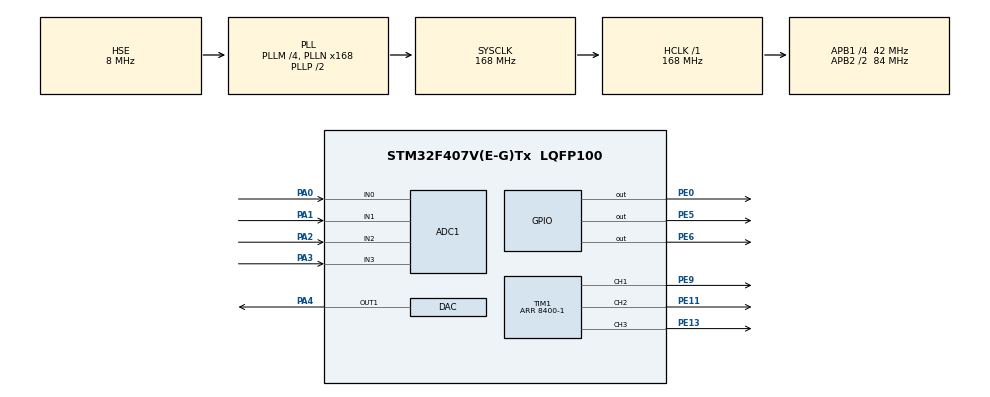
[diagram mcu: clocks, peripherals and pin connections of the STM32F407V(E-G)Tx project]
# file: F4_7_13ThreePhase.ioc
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ADC1.Channel-0\#ChannelRegularConversion=ADC_CHANNEL_0
ADC1.Channel-1\#ChannelRegularConversion=ADC_CHANNEL_1
ADC1.Channel-2\#ChannelRegularConversion=ADC_CHANNEL_2
ADC1.Channel-3\#ChannelRegularConversion=ADC_CHANNEL_3
ADC1.DMAContinuousRequests=ENABLE
ADC1.NbrOfConversion=4
ADC1.NbrOfConversionFlag=1
ADC1.Rank-0\#ChannelRegularConversion=1
ADC1.Rank-1\#ChannelRegularConversion=2
ADC1.Rank-2\#ChannelRegularConversion=3
ADC1.Rank-3\#ChannelRegularConversion=4
ADC1.SamplingTime-0\#ChannelRegularConversion=ADC_SAMPLETIME_28CYCLES
ADC1.SamplingTime-1\#ChannelRegularConversion=ADC_SAMPLETIME_28CYCLES
ADC1.SamplingTime-2\#ChannelRegularConversion=ADC_SAMPLETIME_28CYCLES
ADC1.SamplingTime-3\#ChannelRegularConversion=ADC_SAMPLETIME_28CYCLES
ADC1.ScanConvMode=ENABLE
ADC1.master=1
Dma.ADC1.0.Direction=DMA_PERIPH_TO_MEMORY
Dma.ADC1.0.FIFOMode=DMA_FIFOMODE_DISABLE
Dma.ADC1.0.Instance=DMA2_Stream0
Dma.ADC1.0.MemDataAlignment=DMA_MDATAALIGN_HALFWORD
Dma.ADC1.0.MemInc=DMA_MINC_ENABLE
Dma.ADC1.0.Mode=DMA_CIRCULAR
Dma.ADC1.0.PeriphDataAlignment=DMA_PDATAALIGN_HALFWORD
Dma.ADC1.0.PeriphInc=DMA_PINC_DISABLE
Dma.ADC1.0.Priority=DMA_PRIORITY_HIGH
Dma.Request0=ADC1
Mcu.Family=STM32F4
Mcu.Name=STM32F407V(E-G)Tx
Mcu.Package=LQFP100
NVIC.DMA2_Stream0_IRQn=true\:0\:0\:false\:false\:true\:false\:true\:true
NVIC.PriorityGroup=NVIC_PRIORITYGROUP_4
NVIC.TIM1_BRK_TIM9_IRQn=true\:0\:0\:false\:false\:true\:true\:true\:true
NVIC.TIM1_CC_IRQn=true\:0\:0\:false\:false\:true\:true\:true\:true
NVIC.TIM1_TRG_COM_TIM11_IRQn=true\:0\:0\:false\:false\:true\:true\:true\:true
NVIC.TIM1_UP_TIM10_IRQn=true\:0\:0\:false\:false\:true\:true\:true\:true
NVIC.TIM2_IRQn=true\:0\:0\:false\:false\:true\:true\:true\:true
NVIC.TIM3_IRQn=true\:0\:0\:false\:false\:true\:true\:true\:true
PA0-WKUP.Signal=ADCx_IN0
PA1.Signal=ADCx_IN1
PA13.Mode=Serial_Wire
PA13.Signal=SYS_JTMS-SWDIO
PA14.Mode=Serial_Wire
PA14.Signal=SYS_JTCK-SWCLK
PA2.Signal=ADCx_IN2
PA3.Signal=ADCx_IN3
PA4.Signal=COMP_DAC1_group
PC14-OSC32_IN.Mode=LSE-External-Oscillator
PC14-OSC32_IN.Signal=RCC_OSC32_IN
PC15-OSC32_OUT.Mode=LSE-External-Oscillator
PC15-OSC32_OUT.Signal=RCC_OSC32_OUT
PE0.GPIO_Speed=GPIO_SPEED_FREQ_HIGH
PE0.Signal=GPIO_Output
PE11.Signal=S_TIM1_CH2
PE13.Signal=S_TIM1_CH3
PE5.GPIO_Speed=GPIO_SPEED_FREQ_HIGH
PE5.Signal=GPIO_Output
PE6.GPIO_Speed=GPIO_SPEED_FREQ_HIGH
PE6.Signal=GPIO_Output
PE9.Signal=S_TIM1_CH1
PH0-OSC_IN.Mode=HSE-External-Oscillator
PH0-OSC_IN.Signal=RCC_OSC_IN
PH1-OSC_OUT.Mode=HSE-External-Oscillator
PH1-OSC_OUT.Signal=RCC_OSC_OUT
ProjectManager.HeapSize=0x200
ProjectManager.StackSize=0x400
ProjectManager.TargetToolchain=MDK-ARM V5.32
RCC.48MHZClocksFreq_Value=84000000
RCC.AHBFreq_Value=168000000
RCC.APB1CLKDivider=RCC_HCLK_DIV4
RCC.APB1Freq_Value=42000000
RCC.APB1TimFreq_Value=84000000
RCC.APB2CLKDivider=RCC_HCLK_DIV2
RCC.APB2Freq_Value=84000000
RCC.APB2TimFreq_Value=168000000
RCC.CortexFreq_Value=168000000
RCC.HCLKFreq_Value=168000000
RCC.HSE_VALUE=8000000
RCC.HSI_VALUE=16000000
RCC.PLLM=4
RCC.PLLN=168
RCC.PLLSourceVirtual=RCC_PLLSOURCE_HSE
RCC.SYSCLKFreq_VALUE=168000000
RCC.SYSCLKSource=RCC_SYSCLKSOURCE_PLLCLK
RCC.VCOOutputFreq_Value=336000000
SH.ADCx_IN0.0=ADC1_IN0,IN0
SH.ADCx_IN1.0=ADC1_IN1,IN1
SH.ADCx_IN2.0=ADC1_IN2,IN2
SH.ADCx_IN3.0=ADC1_IN3,IN3
SH.COMP_DAC1_group.0=DAC_OUT1,DAC_OUT1
SH.S_TIM1_CH1.0=TIM1_CH1,PWM Generation1 CH1
SH.S_TIM1_CH2.0=TIM1_CH2,PWM Generation2 CH2
SH.S_TIM1_CH3.0=TIM1_CH3,PWM Generation3 CH3
STMicroelectronics.X-CUBE-ALGOBUILD.1.3.0.LibraryCcDSPOoLibraryJjDSPOoLibrary=true
TIM1.AutoReloadPreload=TIM_AUTORELOAD_PRELOAD_ENABLE
TIM1.Channel-PWM\ Generation1\ CH1=TIM_CHANNEL_1
TIM1.Channel-PWM\ Generation2\ CH2=TIM_CHANNEL_2
TIM1.Channel-PWM\ Generation3\ CH3=TIM_CHANNEL_3
TIM1.CounterMode=TIM_COUNTERMODE_CENTERALIGNED1
TIM1.Period=8400-1
TIM2.AutoReloadPreload=TIM_AUTORELOAD_PRELOAD_ENABLE
TIM2.Period=2100-1
TIM3.AutoReloadPreload=TIM_AUTORELOAD_PRELOAD_ENABLE
TIM3.Period=8400-1
VP_STMicroelectronics.X-CUBE-ALGOBUILD_VS_DSPOoLibraryJjLibrary_1.3.0_1.3.0.Mode=DSPOoLibraryJjLibrary
VP_TIM1_VS_ClockSourceINT.Mode=Internal
VP_TIM2_VS_ClockSourceINT.Mode=Internal
VP_TIM3_VS_ClockSourceINT.Mode=Internal
board=custom

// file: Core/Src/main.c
/* USER CODE BEGIN Header */
/**
  ******************************************************************************
  * @file           : main.c
  * @brief          : Main program body
  ******************************************************************************
  * @attention
  *
  * Copyright (c) 2023 STMicroelectronics.
  * All rights reserved.
  *
  * This software is licensed under terms that can be found in the LICENSE file
  * in the root directory of this software component.
  * If no LICENSE file comes with this software, it is provided AS-IS.
  *
  ******************************************************************************
  */
/* USER CODE END Header */
#include "main.h"
#include "adc.h"
#include "dac.h"
#include "dma.h"
#include "tim.h"
#include "gpio.h"

/* USER CODE BEGIN Includes */
#include "cleck.h"
#include "Svpwm.h"
#include "Ave_Sam.h"
#include "Park.h"
#include "math.h"
#include "PLL.h"
#include "arm_math.h"
#include "SOGI_PLL.h"
/* USER CODE END Includes */

/* USER CODE BEGIN PTD */
CLECK Cleck,Cleck_1;
PARK  Park;
extern PLL p;
extern PR PRII;
float U_spwm,V_spwm,W_spwm,A_spwm,B_spwm,C_spwm;
float Sin_A,Sin_B,Sin_C;
uint16_t AD_Buf[4]={0};
float Udetc_f,Vdetc_f,Wdetc_f,U_phase,V_phase,U_phase,V_phase,W_phase,Un=1.f,Vn=1.f,Wn=1.f,U_data,V_data,W_data,U_Sin,V_Sin,W_Sin,UL;
float Theta1,sin_data,cos_data;
float Vdc=12.f;
float Um=8.f;
float Out;
uint16_t time_count;
float sumU,sumV,sumW;
float U_ref,V_ref,W_ref;

float Omega=42.f;
float Uk;
uint16_t Flag=0;

/* USER CODE END PTD */

void SystemClock_Config(void);

int main(void)
{

  /* MCU Configuration--------------------------------------------------------*/

  /* Reset of all peripherals, Initializes the Flash interface and the Systick. */
  HAL_Init();

  /* Configure the system clock */
  SystemClock_Config();

  /* Initialize all configured peripherals */
  MX_GPIO_Init();
  MX_DMA_Init();
  MX_ADC1_Init();
  MX_TIM1_Init();
  MX_TIM2_Init();
  MX_TIM3_Init();
  MX_DAC_Init();
  /* USER CODE BEGIN 2 */
	HAL_TIM_Base_Start_IT(&htim2);
	HAL_TIM_Base_Start_IT(&htim3);
	HAL_TIM_Base_Start_IT(&htim1);
	HAL_TIM_PWM_Start(&htim1,TIM_CHANNEL_1);
	HAL_TIM_PWM_Start(&htim1,TIM_CHANNEL_2);
	HAL_TIM_PWM_Start(&htim1,TIM_CHANNEL_3);
	PLL_Init(&Cleck,&Park);
	HAL_DAC_Start(&hdac, DAC_CHANNEL_1);
  /* USER CODE END 2 */

  /* Infinite loop */
  while (1)
  {

  }
}

void SystemClock_Config(void)
{
  RCC_OscInitTypeDef RCC_OscInitStruct = {0};
  RCC_ClkInitTypeDef RCC_ClkInitStruct = {0};

  /** Configure the main internal regulator output voltage
  */
  __HAL_RCC_PWR_CLK_ENABLE();
  __HAL_PWR_VOLTAGESCALING_CONFIG(PWR_REGULATOR_VOLTAGE_SCALE1);

  /** Initializes the RCC Oscillators according to the specified parameters
  * in the RCC_OscInitTypeDef structure.
  */
  RCC_OscInitStruct.OscillatorType = RCC_OSCILLATORTYPE_HSE;
  RCC_OscInitStruct.HSEState = RCC_HSE_ON;
  RCC_OscInitStruct.PLL.PLLState = RCC_PLL_ON;
  RCC_OscInitStruct.PLL.PLLSource = RCC_PLLSOURCE_HSE;
  RCC_OscInitStruct.PLL.PLLM = 4;
  RCC_OscInitStruct.PLL.PLLN = 168;
  RCC_OscInitStruct.PLL.PLLP = RCC_PLLP_DIV2;
  RCC_OscInitStruct.PLL.PLLQ = 4;
  if (HAL_RCC_OscConfig(&RCC_OscInitStruct) != HAL_OK)
  {
    Error_Handler();
  }

  /** Initializes the CPU, AHB and APB buses clocks
  */
  RCC_ClkInitStruct.ClockType = RCC_CLOCKTYPE_HCLK|RCC_CLOCKTYPE_SYSCLK
                              |RCC_CLOCKTYPE_PCLK1|RCC_CLOCKTYPE_PCLK2;
  RCC_ClkInitStruct.SYSCLKSource = RCC_SYSCLKSOURCE_PLLCLK;
  RCC_ClkInitStruct.AHBCLKDivider = RCC_SYSCLK_DIV1;
  RCC_ClkInitStruct.APB1CLKDivider = RCC_HCLK_DIV4;
  RCC_ClkInitStruct.APB2CLKDivider = RCC_HCLK_DIV2;

  if (HAL_RCC_ClockConfig(&RCC_ClkInitStruct, FLASH_LATENCY_5) != HAL_OK)
  {
    Error_Handler();
  }
}

/* USER CODE BEGIN 4 */

void HAL_TIM_PeriodElapsedCallback(TIM_HandleTypeDef *htim)
{

	if(htim==&htim1)
	{
//		Sin_Start(10000,5,12);
    HAL_ADC_Start_DMA(&hadc1,(uint32_t *)AD_Buf,4);
		Udetc_f=(AD_Buf[0]/4096.0f*3.3f);
		Vdetc_f=(AD_Buf[1]/4096.0f*3.3f);

		U_ref=Ave_Sam_u(Udetc_f,10);
		V_ref=Ave_Sam_i(Vdetc_f,10);

		///////////////////对AD_Buf取平均
		U_data=(U_ref-1.668f)/0.0202f;
    V_data=(V_ref-1.654f)/0.4f;

		Sogi_pll(-U_data);
		PRcon((2.8f*p.an-V_data));
//		TIM1->CCR3=4000;
//		TIM1->CCR2=4000;
		if (PRII.y0>0.0f)
		{
			__HAL_TIM_SetCompare(&htim1,TIM_CHANNEL_2,(PRII.y0)*16.8f);
			__HAL_TIM_SetCompare(&htim1,TIM_CHANNEL_3,0.f);
		}
		if (PRII.y0<0.0f)
		{
			__HAL_TIM_SetCompare(&htim1,TIM_CHANNEL_3,(-PRII.y0)*16.8f);
			__HAL_TIM_SetCompare(&htim1,TIM_CHANNEL_2,0.f);
		}
//		HAL_DAC_SetValue(&hdac, DAC_CHANNEL_1, DAC_ALIGN_12B_R, (p.an+1)*1000);
   }

//		time_count++;
//		sumU+=U_data*U_data;
//		sumV+=V_data*V_data;
//		sumW+=W_data*W_data;
//		if(time_count==200)
//			{
//				time_count=0;
//				Un=sqrt(sumU*0.005f);//
//				sumU=0;//
//				Vn=sqrt(sumV*0.005f);//
//				sumV=0;//
//				Wn=sqrt(sumW*0.005f);//
//				sumW=0;//
//			}
//		Out=sqrt_3*Um/Vdc;
//
//		sogi(U_data);
//		U_phase=Out*U_data/sqrt_2/Un;
//		V_phase=Out*V_data/sqrt_2/Vn;
//    W_phase=Out*W_data/sqrt_2/Wn;	//在第一次时将Wn定义为1否则inf

}
/* USER CODE END 4 */

void Error_Handler(void)
{
  __disable_irq();
  while (1)
  {
  }
}
